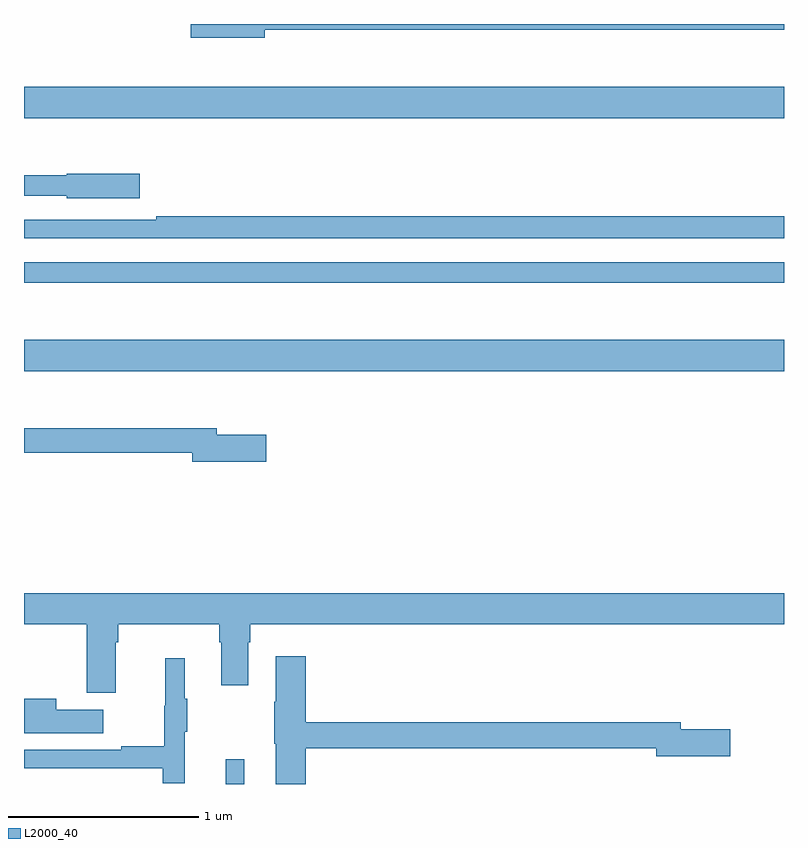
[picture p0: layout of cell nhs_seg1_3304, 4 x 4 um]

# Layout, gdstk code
import gdstk
lib = gdstk.Library(unit=1e-6, precision=1e-09)
def R(c, l, rs):  # rectangles x0, y0, x1, y1
    for r in rs: c.add(gdstk.rectangle(r[:2], r[2:], *l))
def P(c, l, *ps):  # polygons
    for p in ps: c.add(gdstk.Polygon(p, *l))
L2000_40 = (2000, 40)

nhs_seg1_3304 = lib.new_cell('nhs_seg1_3304')
R(nhs_seg1_3304, L2000_40, [(290.061,576.199,290.158,576.328), (289,578.372,293,578.536), (289,578.838,293,578.946), (289,579.704,293,579.868)])
P(nhs_seg1_3304, L2000_40, [(290.266,580.17),(293,580.17),(293,580.199),(289.878,580.199),(289.878,580.127),(290.266,580.127)],
  [(289.609,579.411),(289.224,579.411),(289.224,579.403),(289,579.403),(289,579.294),(289.224,579.294),(289.224,579.281),(289.609,579.281)],
  [(293,579.188),(289.696,579.188),(289.696,579.168),(289,579.168),(289,579.072),(293,579.072)],
  [(290.275,578.037),(290.014,578.037),(290.014,578.071),(289,578.071),(289,577.942),(289.886,577.942),(289.886,577.895),(290.275,577.895)],
  [(289.483,576.944),(289.496,576.944),(289.496,577.04),(290.027,577.04),(290.027,576.944),(290.039,576.944),(290.039,576.72),(290.179,576.72),(290.179,576.944),(290.192,576.944),(290.192,577.04),(293,577.04),(293,577.204),(289,577.204),(289,577.04),(289.331,577.04),(289.331,576.678),(289.483,576.678)],
  [(290.483,576.388),(292.328,576.388),(292.328,576.346),(292.717,576.346),(292.717,576.488),(292.456,576.488),(292.456,576.524),(290.483,576.524),(290.483,576.871),(290.324,576.871),(290.324,576.632),(290.317,576.632),(290.317,576.411),(290.324,576.411),(290.324,576.199),(290.483,576.199)],
  [(289.847,576.475),(289.858,576.475),(289.858,576.649),(289.847,576.649),(289.847,576.862),(289.744,576.862),(289.744,576.612),(289.737,576.612),(289.737,576.398),(289.513,576.398),(289.513,576.378),(289,576.378),(289,576.282),(289.729,576.282),(289.729,576.204),(289.847,576.204)],
  [(289.417,576.589),(289.169,576.589),(289.169,576.649),(289,576.649),(289,576.467),(289.417,576.467)])

lib.write_gds('nhs_seg1_3304.gds')
